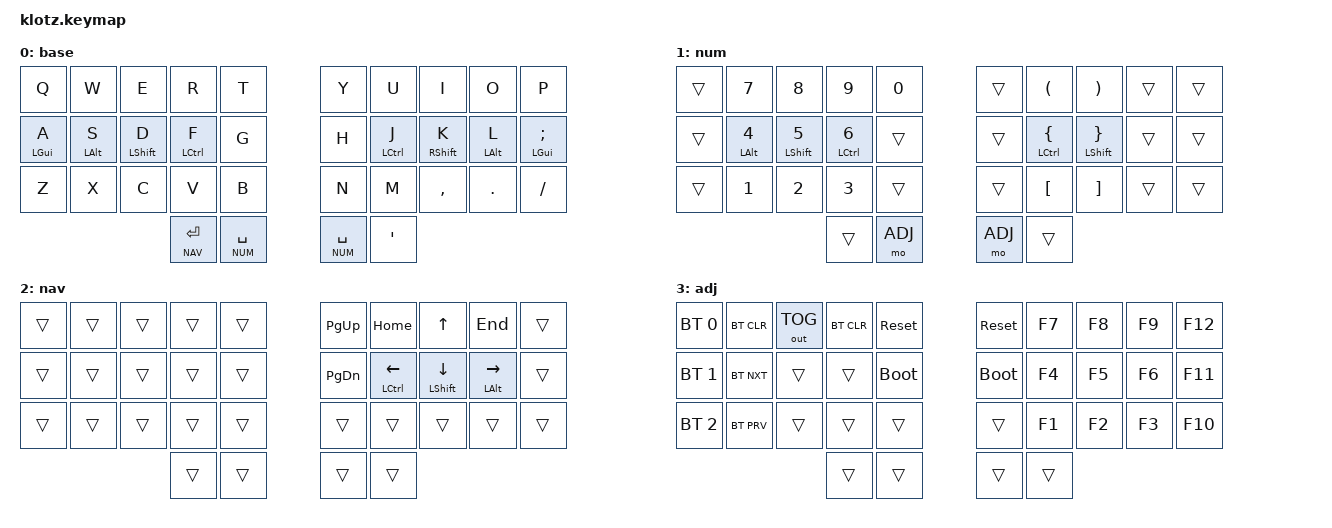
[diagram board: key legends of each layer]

//                                      █         ██        ▄▀▀▀▀▀▀▀▀▀▀█▀▀▀▀▀▀▀▀█▀▀▀▀▀▀▀▀▀▀█
//                                      █        █ █      ▄▀            ▀▄      █         █
//                                      █       █  █    ▄▀                ▀▄    █        █
//                                      █      █   █   █                    █   █       █
//                                      █     █    █   █                    █   █      █
//                                      █    █     █   █                    █   █  ▀▀▀█▀▀▀▀
//                                      █   █ █    █   █                    █   █    █
//                                      █  █   █   █   █                    █   █   █
//                                      █ █     █  █    ▀▄                ▄▀    █  █
//                                      ██       █ █      ▀▄            ▄▀      █ █
//                                      █         ██▄▄▄▄▄▄▄▄█▄▄▄▄▄▄▄▄▄▄▀        ██▄▄▄▄▄▄▄▄▄▄
//
// ▄▄▄▄▄▄▄▄▄▄▄▄▄▄▄▄▄▄▄▄▄▄▄▄▄▄▄▄▄▄▄▄▄▄▄▄▄▄▄▄▄▄▄▄▄▄▄▄▄▄▄▄▄▄▄▄▄▄▄▄▄▄▄▄▄▄▄▄▄▄▄▄▄▄▄▄▄▄▄▄▄▄▄▄▄▄▄▄▄▄▄▄▄▄▄▄▄▄▄▄▄▄▄▄▄▄▄▄▄▄▄▄▄▄▄▄▄▄▄▄▄▄▄▄▄
       

#include <behaviors.dtsi>
#include <dt-bindings/zmk/keys.h>
#include <dt-bindings/zmk/bt.h>
#include <dt-bindings/zmk/outputs.h>

#include "zmk-helpers/helper.h"

#define DEF 0
#define NUM 1
#define NAV 2
#define ADJ 3

// ▄▄▄▄▄▄▄▄▄▄▄▄▄▄▄▄▄▄▄▄▄▄▄▄▄▄▄▄▄▄▄▄▄▄▄▄▄▄▄▄▄▄▄▄▄▄▄▄▄▄▄▄▄▄▄▄▄▄▄▄▄▄▄▄▄▄▄▄▄▄▄▄▄▄▄▄▄▄▄▄▄▄▄▄▄▄▄▄▄▄▄▄▄▄▄▄▄▄▄▄▄▄▄▄▄▄▄▄▄▄▄▄▄▄▄▄▄▄▄▄▄▄▄▄▄
/* Global settings */

#define QUICK_TAP_MS 175

&sk {  // sticky-key config
    release-after-ms = <900>;  // release after 0.6s
    quick-release;             // no double capitalization when rolling keys
};

&sl {  // sticky-layer config
    ignore-modifiers;          // allow chording sticky mods & layers
};

&lt {  // layer-tap config
    flavor = "balanced";
    tapping-term-ms = <200>;
    quick-tap-ms = <QUICK_TAP_MS>;
};

&mt {
  quick-tap-ms = <100>;
  global-quick-tap;
  flavor = "tap-preferred";
  tapping-term-ms = <170>;
};

// ▄▄▄▄▄▄▄▄▄▄▄▄▄▄▄▄▄▄▄▄▄▄▄▄▄▄▄▄▄▄▄▄▄▄▄▄▄▄▄▄▄▄▄▄▄▄▄▄▄▄▄▄▄▄▄▄▄▄▄▄▄▄▄▄▄▄▄▄▄▄▄▄▄▄▄▄▄▄▄▄▄▄▄▄▄▄▄▄▄▄▄▄▄▄▄▄▄▄▄▄▄▄▄▄▄▄▄▄▄▄▄▄▄▄▄▄▄▄▄▄▄▄▄▄▄
/* Homerow mods */

#include "zmk-helpers/key-labels/34.h"
#define KEYS_L LT0 LT1 LT2 LT3 LT4 LM0 LM1 LM2 LM3 LM4 LB0 LB1 LB2 LB3 LB4  // left hand
#define KEYS_R RT0 RT1 RT2 RT3 RT4 RM0 RM1 RM2 RM3 RM4 RB0 RB1 RB2 RB3 RB4  // right hand
#define THUMBS LH1 LH0 RH0 RH1                                              // thumbs

#define MAKE_HRM(NAME, HOLD, TAP, TRIGGER_POS) \
    ZMK_HOLD_TAP(NAME, \
        flavor = "balanced"; \
        tapping-term-ms = <280>; \
        quick-tap-ms = <QUICK_TAP_MS>; \
        require-prior-idle-ms = <150>; \
        bindings = <HOLD>, <TAP>; \
        hold-trigger-key-positions = <TRIGGER_POS>; \
        hold-trigger-on-release; \
    )
MAKE_HRM(hml, &kp, &kp, KEYS_R THUMBS)  // left-hand HRMs
MAKE_HRM(hmr, &kp, &kp, KEYS_L THUMBS)  // right-hand HRMs

// ▄▄▄▄▄▄▄▄▄▄▄▄▄▄▄▄▄▄▄▄▄▄▄▄▄▄▄▄▄▄▄▄▄▄▄▄▄▄▄▄▄▄▄▄▄▄▄▄▄▄▄▄▄▄▄▄▄▄▄▄▄▄▄▄▄▄▄▄▄▄▄▄▄▄▄▄▄▄▄▄▄▄▄▄▄▄▄▄▄▄▄▄▄▄▄▄▄▄▄▄▄▄▄▄▄▄▄▄▄▄▄▄▄▄▄▄▄▄▄▄▄▄▄▄▄
/* Combos */
#include "combos.dtsi"  // requires layer aliases

// ▄▄▄▄▄▄▄▄▄▄▄▄▄▄▄▄▄▄▄▄▄▄▄▄▄▄▄▄▄▄▄▄▄▄▄▄▄▄▄▄▄▄▄▄▄▄▄▄▄▄▄▄▄▄▄▄▄▄▄▄▄▄▄▄▄▄▄▄▄▄▄▄▄▄▄▄▄▄▄▄▄▄▄▄▄▄▄▄▄▄▄▄▄▄▄▄▄▄▄▄▄▄▄▄▄▄▄▄▄▄▄▄▄▄▄▄▄▄▄▄▄▄▄▄▄
/* Keymaps */

#define XXX &none
#define ___ &trans

ZMK_LAYER(base,
//╭─────────────┬─────────────┬─────────────┬─────────────┬─────────────╮   ╭─────────────┬─────────────┬─────────────┬─────────────┬─────────────╮
    &kp Q         &kp W         &kp E         &kp R         &kp T             &kp Y         &kp U         &kp I         &kp O         &kp P
//├─────────────┼─────────────┼─────────────┼─────────────┼─────────────┤   ├─────────────┼─────────────┼─────────────┼─────────────┼─────────────┤
    &hml LGUI A   &hml LALT S   &hml LSHFT D  &hml LCTRL F  &kp G             &kp H         &hmr LCTRL J  &hmr RSHFT K  &hmr LALT L   &hmr LGUI SEMI
//├─────────────┼─────────────┼─────────────┼─────────────┼─────────────┤   ├─────────────┼─────────────┼─────────────┼─────────────┼─────────────┤
    &kp Z         &kp X         &kp C         &kp V         &kp B             &kp N         &kp M         &kp COMMA     &kp DOT       &kp FSLH
//╰─────────────┼─────────────┴─────────────┼─────────────┼─────────────┤   ├─────────────┼─────────────┼─────────────┴─────────────┴─────────────╯
                                              &lt NAV RET   &lt NUM SPACE     &lt NUM SPACE    &kp APOS
//                                          ╰─────────────┴─────────────╯   ╰─────────────┴─────────────╯
)

// ▄▄▄▄▄▄▄▄▄▄▄▄▄▄▄▄▄▄▄▄▄▄▄▄▄▄▄▄▄▄▄▄▄▄▄▄▄▄▄▄▄▄▄▄▄▄▄▄▄▄▄▄▄▄▄▄▄▄▄▄▄▄▄▄▄▄▄▄▄▄▄▄▄▄▄▄▄▄▄▄▄▄▄▄▄▄▄▄▄▄▄▄▄▄▄▄▄▄▄▄▄▄▄▄▄▄▄▄▄▄▄▄▄▄▄▄▄▄▄▄▄▄▄▄▄


ZMK_LAYER(num,
//╭─────────────┬─────────────┬─────────────┬─────────────┬─────────────╮   ╭─────────────┬─────────────┬─────────────┬─────────────┬─────────────╮
    ___           &kp N7        &kp N8        &kp N9        &kp N0            ___           &kp LPAR      &kp RPAR      ___           ___
//├─────────────┼─────────────┼─────────────┼─────────────┼─────────────┤   ├─────────────┼─────────────┼─────────────┼─────────────┼─────────────┤
    ___           &hml LALT N4  &hml LSHFT N5 &hml LCTRL N6 ___               ___           &hml LCTRL LBRC &hml LSHFT RBRC  ___      ___
//├─────────────┼─────────────┼─────────────┼─────────────┼─────────────┤   ├─────────────┼─────────────┼─────────────┼─────────────┼─────────────┤
    ___           &kp N1        &kp N2        &kp N3        ___               ___           &kp LBKT      &kp RBKT      ___           ___
//╰─────────────┼─────────────┴─────────────┼─────────────┼─────────────┤   ├─────────────┼─────────────┼─────────────┴─────────────┴─────────────╯
                                              ___           &mo ADJ           &mo ADJ       ___
//                                          ╰─────────────┴─────────────╯   ╰─────────────┴─────────────╯
)
// ▄▄▄▄▄▄▄▄▄▄▄▄▄▄▄▄▄▄▄▄▄▄▄▄▄▄▄▄▄▄▄▄▄▄▄▄▄▄▄▄▄▄▄▄▄▄▄▄▄▄▄▄▄▄▄▄▄▄▄▄▄▄▄▄▄▄▄▄▄▄▄▄▄▄▄▄▄▄▄▄▄▄▄▄▄▄▄▄▄▄▄▄▄▄▄▄▄▄▄▄▄▄▄▄▄▄▄▄▄▄▄▄▄▄▄▄▄▄▄▄▄▄▄▄▄


ZMK_LAYER(nav,
//╭─────────────┬─────────────┬─────────────┬─────────────┬─────────────╮   ╭─────────────┬─────────────┬─────────────┬─────────────┬─────────────╮
    ___           ___           ___           ___           ___               &kp PG_UP     &kp HOME      &kp UP        &kp END       ___
//├─────────────┼─────────────┼─────────────┼─────────────┼─────────────┤   ├─────────────┼─────────────┼─────────────┼─────────────┼─────────────┤
    ___           ___           ___           ___           ___               &kp PG_DN     &hml LCTRL LEFT &hml LSHFT DOWN &hml LALT RIGHT     ___
//├─────────────┼─────────────┼─────────────┼─────────────┼─────────────┤   ├─────────────┼─────────────┼─────────────┼─────────────┼─────────────┤
    ___           ___           ___           ___           ___               ___           ___           ___           ___           ___
//╰─────────────┼─────────────┴─────────────┼─────────────┼─────────────┤   ├─────────────┼─────────────┼─────────────┴─────────────┴─────────────╯
                                              ___           ___               ___           ___
//                                          ╰─────────────┴─────────────╯   ╰─────────────┴─────────────╯
)

// ▄▄▄▄▄▄▄▄▄▄▄▄▄▄▄▄▄▄▄▄▄▄▄▄▄▄▄▄▄▄▄▄▄▄▄▄▄▄▄▄▄▄▄▄▄▄▄▄▄▄▄▄▄▄▄▄▄▄▄▄▄▄▄▄▄▄▄▄▄▄▄▄▄▄▄▄▄▄▄▄▄▄▄▄▄▄▄▄▄▄▄▄▄▄▄▄▄▄▄▄▄▄▄▄▄▄▄▄▄▄▄▄▄▄▄▄▄▄▄▄▄▄▄▄▄


ZMK_LAYER(adj,
//╭─────────────┬─────────────┬─────────────┬─────────────┬─────────────╮   ╭─────────────┬─────────────┬─────────────┬─────────────┬─────────────╮
    &bt BT_SEL 0  &bt BT_CLR   &out OUT_TOG   &bt BT_CLR    &sys_reset        &sys_reset    &kp F7        &kp F8        &kp F9        &kp F12
//├─────────────┼─────────────┼─────────────┼─────────────┼─────────────┤   ├─────────────┼─────────────┼─────────────┼─────────────┼─────────────┤
    &bt BT_SEL 1  &bt BT_NXT       ___           ___        &bootloader       &bootloader   &kp F4        &kp F5        &kp F6        &kp F11
//├─────────────┼─────────────┼─────────────┼─────────────┼─────────────┤   ├─────────────┼─────────────┼─────────────┼─────────────┼─────────────┤
    &bt BT_SEL 2  &bt BT_PRV    ___           ___           ___               ___           &kp F1        &kp F2        &kp F3        &kp F10
//╰─────────────┼─────────────┴─────────────┼─────────────┼─────────────┤   ├─────────────┼─────────────┼─────────────┴─────────────┴─────────────╯
                                              ___           ___               ___           ___
//                                          ╰─────────────┴─────────────╯   ╰─────────────┴─────────────╯
)

// ▄▄▄▄▄▄▄▄▄▄▄▄▄▄▄▄▄▄▄▄▄▄▄▄▄▄▄▄▄▄▄▄▄▄▄▄▄▄▄▄▄▄▄▄▄▄▄▄▄▄▄▄▄▄▄▄▄▄▄▄▄▄▄▄▄▄▄▄▄▄▄▄▄▄▄▄▄▄▄▄▄▄▄▄▄▄▄▄▄▄▄▄▄▄▄▄▄▄▄▄▄▄▄▄▄▄▄▄▄▄▄▄▄▄▄▄▄▄▄▄▄▄▄▄▄
